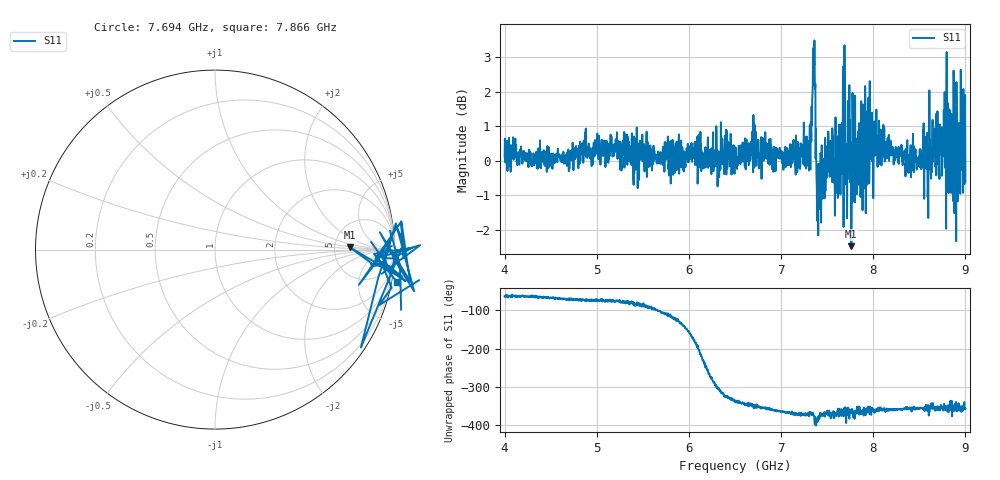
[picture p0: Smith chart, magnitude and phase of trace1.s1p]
! Created with skrf 1.8.0 (http://scikit-rf.org).
# Hz S RI R 50.0
!freq ReS11 ImS11
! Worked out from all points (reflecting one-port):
!   1601 points, 4 GHz to 9 GHz, reference 50 ohm
!   lowest |S11| = -2.5 dB at 7.762 GHz (marker M1), VSWR 7.07, Z = 352 + j19.7 ohm
!   phase of S11 starts at -64 deg and turns -293 deg over the sweep
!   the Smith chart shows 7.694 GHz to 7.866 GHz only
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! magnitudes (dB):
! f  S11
! 4 GHz  0.1
! 4.625 GHz  0.0
! 5.25 GHz  0.1
! 5.875 GHz  0.2
! 6.5 GHz  0.0
! 7.125 GHz  0.4
! 7.294 GHz  0.2
! 7.316 GHz  -0.2
! 7.347 GHz  3.3
! 7.362 GHz  3.5
! 7.4 GHz  -1.4
! 7.409 GHz  -1.1
! 7.538 GHz  0.6
! 7.591 GHz  1.3
! 7.672 GHz  2.7
! 7.75 GHz  -0.6
! 7.762 GHz  -2.5
! 7.775 GHz  2.0
! 7.822 GHz  -1.0
! 7.962 GHz  2.3
! 8.375 GHz  -0.2
! 8.559 GHz  0.7
! 8.612 GHz  0.6
! 8.631 GHz  0.2
! 8.819 GHz  -0.9
! 8.875 GHz  0.9
! 8.972 GHz  0.7
! 9 GHz  -0.6
